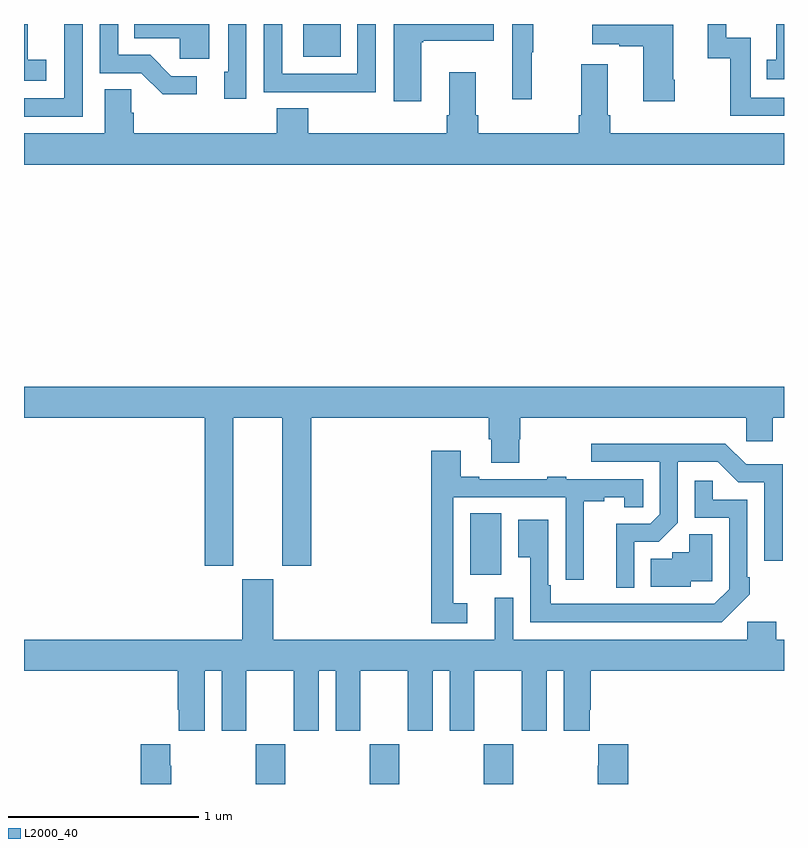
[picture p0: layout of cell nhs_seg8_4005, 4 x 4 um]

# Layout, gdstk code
import gdstk
lib = gdstk.Library(unit=1e-6, precision=1e-09)
def R(c, l, rs):  # rectangles x0, y0, x1, y1
    for r in rs: c.add(gdstk.rectangle(r[:2], r[2:], *l))
def A(c, l, x, y, w, h, nx, ny, dx, dy):  # array of equal rectangles
    R(c, l, [(x+i*dx, y+j*dy, x+i*dx+w, y+j*dy+h) for i in range(nx) for j in range(ny)])
def P(c, l, *ps):  # polygons
    for p in ps: c.add(gdstk.Polygon(p, *l))
L2000_40 = (2000, 40)

nhs_seg8_4005 = lib.new_cell('nhs_seg8_4005')
A(nhs_seg8_4005, L2000_40, 358.219, 1119.9, 0.155, 0.208, 3, 1, 0.6, 0)
R(nhs_seg8_4005, L2000_40, [(359.348,1121.001,359.512,1121.324), (358.469,1123.727,358.666,1123.9)])
P(nhs_seg8_4005, L2000_40, [(358.17,1123.9),(358.074,1123.9),(358.074,1123.65),(358.055,1123.65),(358.055,1123.506),(358.17,1123.506)],
  [(357.309,1123.9),(357.213,1123.9),(357.213,1123.509),(357,1123.509),(357,1123.413),(357.309,1123.413)],
  [(359.672,1123.752),(359.68,1123.752),(359.68,1123.9),(359.571,1123.9),(359.571,1123.715),(359.57,1123.715),(359.57,1123.503),(359.672,1123.503)],
  [(359.092,1123.804),(359.1,1123.804),(359.1,1123.811),(359.473,1123.811),(359.473,1123.9),(358.946,1123.9),(358.946,1123.494),(359.092,1123.494)],
  [(358.851,1123.9),(358.755,1123.9),(358.755,1123.638),(358.359,1123.638),(358.359,1123.9),(358.263,1123.9),(358.263,1123.542),(358.579,1123.542),(358.579,1123.541),(358.851,1123.541)],
  [(357.91,1123.626),(357.775,1123.626),(357.664,1123.737),(357.495,1123.737),(357.495,1123.9),(357.399,1123.9),(357.399,1123.641),(357.618,1123.641),(357.731,1123.529),(357.91,1123.529)],
  [(361,1123.9),(360.959,1123.9),(360.959,1123.713),(360.91,1123.713),(360.91,1123.608),(361,1123.608)],
  [(361,1123.512),(360.825,1123.512),(360.825,1123.827),(360.696,1123.827),(360.696,1123.9),(360.599,1123.9),(360.599,1123.719),(360.717,1123.719),(360.717,1123.416),(361,1123.416)],
  [(357.976,1123.9),(357.58,1123.9),(357.58,1123.826),(357.819,1123.826),(357.819,1123.718),(357.976,1123.718)],
  [(357.118,1123.711),(357.02,1123.711),(357.02,1123.9),(357,1123.9),(357,1123.601),(357.118,1123.601)],
  [(360.426,1123.606),(360.418,1123.606),(360.418,1123.897),(359.991,1123.897),(359.991,1123.793),(360.134,1123.793),(360.134,1123.783),(360.26,1123.783),(360.26,1123.494),(360.426,1123.494)],
  [(361,1123.324),(360.086,1123.324),(360.086,1123.42),(360.073,1123.42),(360.073,1123.687),(359.933,1123.687),(359.933,1123.42),(359.921,1123.42),(359.921,1123.324),(359.39,1123.324),(359.39,1123.42),(359.377,1123.42),(359.377,1123.645),(359.237,1123.645),(359.237,1123.42),(359.225,1123.42),(359.225,1123.324),(358.496,1123.324),(358.496,1123.457),(358.331,1123.457),(358.331,1123.324),(357.578,1123.324),(357.578,1123.433),(357.564,1123.433),(357.564,1123.556),(357.425,1123.556),(357.425,1123.324),(357,1123.324),(357,1123.16),(361,1123.16)],
  [(358.102,1121.828),(358.358,1121.828),(358.358,1121.049),(358.511,1121.049),(358.511,1121.828),(359.447,1121.828),(359.447,1121.715),(359.459,1121.715),(359.459,1121.59),(359.607,1121.59),(359.607,1121.715),(359.612,1121.715),(359.612,1121.828),(360.802,1121.828),(360.802,1121.703),(360.94,1121.703),(360.94,1121.828),(361,1121.828),(361,1121.992),(357,1121.992),(357,1121.828),(357.95,1121.828),(357.95,1121.049),(358.102,1121.049)],
  [(360.213,1121.175),(360.342,1121.175),(360.441,1121.274),(360.441,1121.595),(360.651,1121.595),(360.759,1121.487),(360.897,1121.487),(360.897,1121.076),(360.994,1121.076),(360.994,1121.583),(360.801,1121.583),(360.692,1121.692),(359.985,1121.692),(359.985,1121.595),(360.345,1121.595),(360.345,1121.319),(360.297,1121.271),(360.116,1121.271),(360.116,1120.933),(360.213,1120.933)],
  [(359.332,1120.851),(359.259,1120.851),(359.259,1121.409),(359.85,1121.409),(359.85,1120.974),(359.947,1120.974),(359.947,1121.389),(360.053,1121.389),(360.053,1121.408),(360.159,1121.408),(360.159,1121.356),(360.26,1121.356),(360.26,1121.505),(359.853,1121.505),(359.853,1121.518),(359.753,1121.518),(359.753,1121.505),(359.395,1121.505),(359.395,1121.518),(359.299,1121.518),(359.299,1121.653),(359.143,1121.653),(359.143,1120.746),(359.332,1120.746)],
  [(360.82,1120.898),(360.82,1120.987),(360.807,1120.987),(360.807,1121.397),(360.626,1121.397),(360.626,1121.497),(360.531,1121.497),(360.531,1121.301),(360.711,1121.301),(360.711,1120.926),(360.633,1120.848),(359.773,1120.848),(359.773,1120.945),(359.76,1120.945),(359.76,1121.29),(359.6,1121.29),(359.6,1121.093),(359.664,1121.093),(359.664,1120.752),(360.673,1120.752)],
  [(360.508,1120.968),(360.622,1120.968),(360.622,1121.214),(360.502,1121.214),(360.502,1121.12),(360.411,1121.12),(360.411,1121.086),(360.298,1121.086),(360.298,1120.937),(360.508,1120.937)],
  [(357.952,1120.496),(358.04,1120.496),(358.04,1120.179),(358.171,1120.179),(358.171,1120.496),(358.421,1120.496),(358.421,1120.179),(358.552,1120.179),(358.552,1120.496),(358.64,1120.496),(358.64,1120.179),(358.771,1120.179),(358.771,1120.496),(359.021,1120.496),(359.021,1120.179),(359.152,1120.179),(359.152,1120.496),(359.24,1120.496),(359.24,1120.179),(359.371,1120.179),(359.371,1120.496),(359.621,1120.496),(359.621,1120.179),(359.752,1120.179),(359.752,1120.496),(359.84,1120.496),(359.84,1120.179),(359.977,1120.179),(359.977,1120.291),(359.984,1120.291),(359.984,1120.496),(361,1120.496),(361,1120.66),(360.959,1120.66),(360.959,1120.753),(360.807,1120.753),(360.807,1120.66),(359.574,1120.66),(359.574,1120.879),(359.477,1120.879),(359.477,1120.66),(358.312,1120.66),(358.312,1120.977),(358.148,1120.977),(358.148,1120.66),(357,1120.66),(357,1120.496),(357.809,1120.496),(357.809,1120.291),(357.815,1120.291),(357.815,1120.179),(357.952,1120.179)],
  [(360.023,1119.995),(360.019,1119.995),(360.019,1119.9),(360.179,1119.9),(360.179,1120.108),(360.023,1120.108)],
  [(357.774,1119.995),(357.769,1119.995),(357.769,1120.108),(357.614,1120.108),(357.614,1119.9),(357.774,1119.9)])

lib.write_gds('nhs_seg8_4005.gds')
